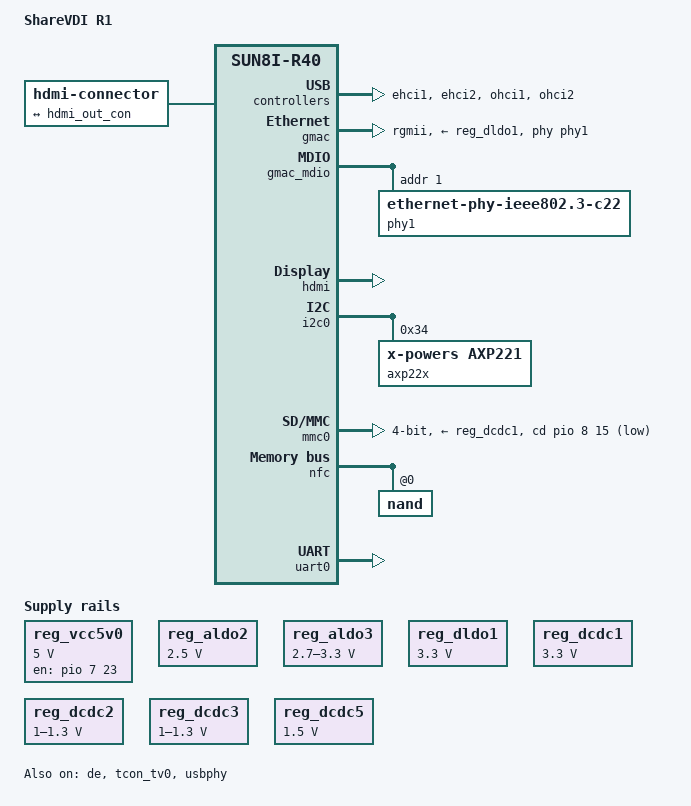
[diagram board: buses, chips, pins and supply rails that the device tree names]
/*
 * Copyright (C) 2023 Daniel Maslowski <info@orangecms.org>
 * Copyright (C) 2023 Aleksei Mamlin <mamlinav@gmail.com>
 *
 * This file is dual-licensed: you can use it either under the terms
 * of the GPL or the X11 license, at your option. Note that this dual
 * licensing only applies to this file, and not this project as a
 * whole.
 *
 *  a) This file is free software; you can redistribute it and/or
 *     modify it under the terms of the GNU General Public License as
 *     published by the Free Software Foundation; either version 2 of the
 *     License, or (at your option) any later version.
 *
 *     This file is distributed in the hope that it will be useful,
 *     but WITHOUT ANY WARRANTY; without even the implied warranty of
 *     MERCHANTABILITY or FITNESS FOR A PARTICULAR PURPOSE.  See the
 *     GNU General Public License for more details.
 *
 * Or, alternatively,
 *
 *  b) Permission is hereby granted, free of charge, to any person
 *     obtaining a copy of this software and associated documentation
 *     files (the "Software"), to deal in the Software without
 *     restriction, including without limitation the rights to use,
 *     copy, modify, merge, publish, distribute, sublicense, and/or
 *     sell copies of the Software, and to permit persons to whom the
 *     Software is furnished to do so, subject to the following
 *     conditions:
 *
 *     The above copyright notice and this permission notice shall be
 *     included in all copies or substantial portions of the Software.
 *
 *     THE SOFTWARE IS PROVIDED "AS IS", WITHOUT WARRANTY OF ANY KIND,
 *     EXPRESS OR IMPLIED, INCLUDING BUT NOT LIMITED TO THE WARRANTIES
 *     OF MERCHANTABILITY, FITNESS FOR A PARTICULAR PURPOSE AND
 *     NONINFRINGEMENT. IN NO EVENT SHALL THE AUTHORS OR COPYRIGHT
 *     HOLDERS BE LIABLE FOR ANY CLAIM, DAMAGES OR OTHER LIABILITY,
 *     WHETHER IN AN ACTION OF CONTRACT, TORT OR OTHERWISE, ARISING
 *     FROM, OUT OF OR IN CONNECTION WITH THE SOFTWARE OR THE USE OR
 *     OTHER DEALINGS IN THE SOFTWARE.
 */

/dts-v1/;
#include "sun8i-r40.dtsi"
#include "sun8i-r40-cpu-opp.dtsi"

#include <dt-bindings/gpio/gpio.h>

/ {
	model = "ShareVDI R1";
	compatible = "sharevdi,sharevdi-r1", "allwinner,sun8i-r40";

	aliases {
		ethernet0 = &gmac;
		serial0 = &uart0;
	};

	chosen {
		stdout-path = "serial0:115200n8";
	};

	connector {
		compatible = "hdmi-connector";
		type = "a";

		port {
			hdmi_con_in: endpoint {
				remote-endpoint = <&hdmi_out_con>;
			};
		};
	};

	reg_vcc5v0: vcc5v0 {
		compatible = "regulator-fixed";
		regulator-name = "vcc5v0";
		regulator-min-microvolt = <5000000>;
		regulator-max-microvolt = <5000000>;
		gpio = <&pio 7 23 GPIO_ACTIVE_HIGH>; /* PH23 */
		enable-active-high;
	};
};

&cpu0 {
	cpu-supply = <&reg_dcdc2>;
};

&de {
	status = "okay";
};

&ehci1 {
	status = "okay";
};

&ehci2 {
	status = "okay";
};

&gmac {
	pinctrl-names = "default";
	pinctrl-0 = <&gmac_rgmii_pins>;
	phy-handle = <&phy1>;
	phy-mode = "rgmii";
	phy-supply = <&reg_dldo1>;
	status = "okay";
};

&gmac_mdio {
	phy1: ethernet-phy@1 {
		compatible = "ethernet-phy-ieee802.3-c22";
		reg = <1>;
	};
};

&hdmi {
	status = "okay";
};

&hdmi_out {
	hdmi_out_con: endpoint {
		remote-endpoint = <&hdmi_con_in>;
	};
};

&i2c0 {
	status = "okay";

	axp22x: pmic@34 {
		compatible = "x-powers,axp221";
		reg = <0x34>;
		interrupt-parent = <&nmi_intc>;
		interrupts = <0 IRQ_TYPE_LEVEL_LOW>;
	};
};

#include "axp22x.dtsi"

&mmc0 {
	vmmc-supply = <&reg_dcdc1>;
	bus-width = <4>;
	cd-gpios = <&pio 8 15 GPIO_ACTIVE_LOW>; /* PI15 */
	status = "okay";
};

&ohci1 {
	status = "okay";
};

&ohci2 {
	status = "okay";
};

&nfc {
	pinctrl-names = "default";
	pinctrl-0 = <&nand_pins>, <&nand_cs0_pin>, <&nand_rb0_pin>;
	status = "okay";

	nand@0 {
		#address-cells = <2>;
		#size-cells = <2>;
		reg = <0>;
		allwinner,rb = <0>;

		nand-ecc-mode = "hw";
		nand-rnd-mode = "hw";

		nand-randomizer-seeds = /bits/ 16 <
			0x2b75 0x0bd0 0x5ca3 0x62d1 0x1c93 0x07e9 0x2162 0x3a72
			0x0d67 0x67f9 0x1be7 0x077d 0x032f 0x0dac 0x2716 0x2436
			0x7922 0x1510 0x3860 0x5287 0x480f 0x4252 0x1789 0x5a2d
			0x2a49 0x5e10 0x437f 0x4b4e 0x2f45 0x216e 0x5cb7 0x7130
			0x2a3f 0x60e4 0x4dc9 0x0ef0 0x0f52 0x1bb9 0x6211 0x7a56
			0x226d 0x4ea7 0x6f36 0x3692 0x38bf 0x0c62 0x05eb 0x4c55
			0x60f4 0x728c 0x3b6f 0x2037 0x7f69 0x0936 0x651a 0x4ceb
			0x6218 0x79f3 0x383f 0x18d9 0x4f05 0x5c82 0x2912 0x6f17
			0x6856 0x5938 0x1007 0x61ab 0x3e7f 0x57c2 0x542f 0x4f62
			0x7454 0x2eac 0x7739 0x42d4 0x2f90 0x435a 0x2e52 0x2064
			0x637c 0x66ad 0x2c90 0x0bad 0x759c 0x0029 0x0986 0x7126
			0x1ca7 0x1605 0x386a 0x27f5 0x1380 0x6d75 0x24c3 0x0f8e
			0x2b7a 0x1418 0x1fd1 0x7dc1 0x2d8e 0x43af 0x2267 0x7da3
			0x4e3d 0x1338 0x50db 0x454d 0x764d 0x40a3 0x42e6 0x262b
			0x2d2e 0x1aea 0x2e17 0x173d 0x3a6e 0x71bf 0x25f9 0x0a5d
			0x7c57 0x0fbe 0x46ce 0x4939 0x6b17 0x37bb 0x3e91 0x76db>;

		nand-on-flash-bbt;

		boot0@0 {
			label = "boot0";
			reg = /bits/ 64 <0x0 0x200000>;
		};

		boot0-rescue@200000 {
			label = "boot0-rescue";
			reg = /bits/ 64 <0x200000 0x200000>;
		};

		uboot@400000 {
			label = "uboot";
			reg = /bits/ 64 <0x400000 0x200000>;
		};

		uboot-rescue@600000 {
			label = "uboot-rescue";
			reg = /bits/ 64 <0x600000 0x200000>;
		};

		main@800000 {
			label = "main";
			reg = /bits/ 64 <0x800000 0xff800000>;
		};
	};
};

&pio {
	pinctrl-names = "default";
	pinctrl-0 = <&clk_out_a_pin>;
	vcc-pa-supply = <&reg_aldo2>;
	vcc-pc-supply = <&reg_dcdc1>;
	vcc-pd-supply = <&reg_dcdc1>;
	vcc-pe-supply = <&reg_eldo1>;
	vcc-pf-supply = <&reg_dcdc1>;
	vcc-pg-supply = <&reg_dldo1>;
};

&reg_aldo2 {
	regulator-min-microvolt = <2500000>;
	regulator-max-microvolt = <2500000>;
	regulator-name = "vcc-pa";
};

&reg_aldo3 {
	regulator-always-on;
	regulator-min-microvolt = <2700000>;
	regulator-max-microvolt = <3300000>;
	regulator-name = "avcc";
};

&reg_dldo1 {
	regulator-min-microvolt = <3300000>;
	regulator-max-microvolt = <3300000>;
	regulator-name = "vcc-gmac-phy";
};

&reg_dcdc1 {
	regulator-always-on;
	regulator-min-microvolt = <3300000>;
	regulator-max-microvolt = <3300000>;
	regulator-name = "vcc-3v3";
};

&reg_dcdc2 {
	regulator-always-on;
	regulator-min-microvolt = <1000000>;
	regulator-max-microvolt = <1300000>;
	regulator-name = "vdd-cpu";
};

&reg_dcdc3 {
	regulator-always-on;
	regulator-min-microvolt = <1000000>;
	regulator-max-microvolt = <1300000>;
	regulator-name = "vdd-sys";
};

&reg_dcdc5 {
	regulator-always-on;
	regulator-min-microvolt = <1500000>;
	regulator-max-microvolt = <1500000>;
	regulator-name = "vcc-dram";
};

&tcon_tv0 {
	status = "okay";
};

&uart0 {
	pinctrl-names = "default";
	pinctrl-0 = <&uart0_pb_pins>;
	status = "okay";
};

&usbphy {
	usb1_vbus-supply = <&reg_vcc5v0>;
	usb2_vbus-supply = <&reg_vcc5v0>;
	status = "okay";
};
